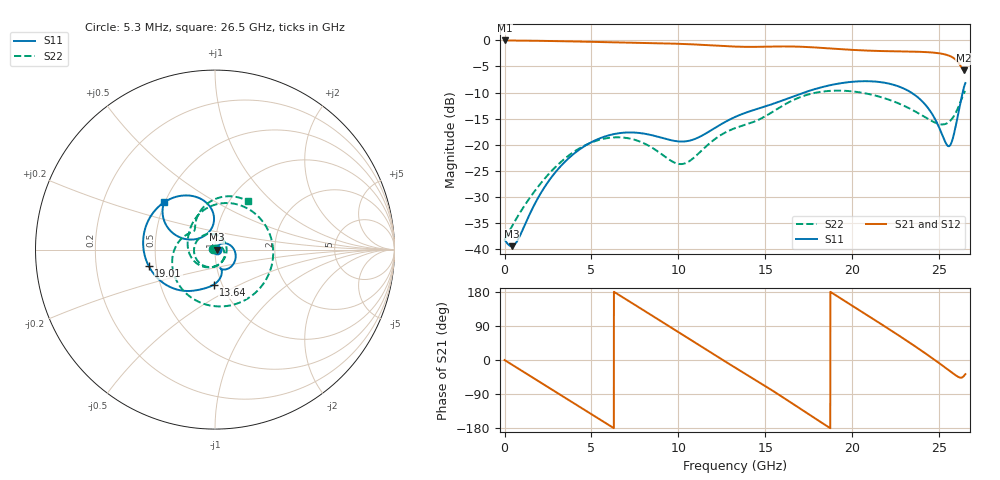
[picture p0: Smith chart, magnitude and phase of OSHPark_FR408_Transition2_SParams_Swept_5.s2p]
! TOUCHSTONE file generated by CST MICROWAVE STUDIO
! Date and time: Tue Jan  7 09:43:09 2020
! Project name: OSHPark_FR408_Transition2.cst
! Parameters = {GND_Plane_XMax=12.5; Cap_Disk_XOffset=0; Cap_Disk2_YCenter=-1.03; Cap_Disk_YCenter=1.03; Cap_Disk_XCenter=7.39; Cap_Disk_Radius=0.5; BottomSupport_Left_YMax=4.76; BottomSupport_Left_YMin=3.74; BottomSupport_Right_YMax=-3.74; BottomSupport_Right_YMin=-4.76; BottomSupport_XMax=11.64; B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
! Header version: 2015
! Port assignment regex: !\s*Touchstone port\s*([0-9]+)\s*=\s*CST MWS port\s*([0-9]+)\s*\(\"(.*)\"\)(\s*mode\s*([0-9]+))?.*
! Touchstone port assignment:
! Touchstone port 1 = CST MWS port 1 ("")
! Touchstone port 2 = CST MWS port 2 ("")
# GHz S MA R 50
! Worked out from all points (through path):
!   5000 points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, 5.3 MHz to 26.5 GHz, reference 50 ohm
!   highest |S21| = 0.00 dB at 5.3 MHz (marker M1); lowest = -5.7 dB at 26.42 GHz (marker M2)
!   group delay of S21, straight-line fit = 80.7 ps
!   lowest |S11| = -39.5 dB at 402.8 MHz (marker M3), VSWR 1.02, Z = 51.1 + j0.0292 ohm
!   |S11| at or under -10 dB: start of sweep to 17.23 GHz; 23.38 GHz to 26.34 GHz (2.959 GHz wide, 11.9 % of centre)
!   |S22| runs from -38.1 to -9.6 dB; largest |S21 - S12| = 0
!   S11 on the Smith chart (normalised r, x): 5.3 MHz: 1.02, -0.01; 13.64 GHz: 0.91, -0.37; 19.01 GHz: 0.45, -0.10; 26.5 GHz: 0.50, +0.32
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0.0053  0.01218 -23.6  0.9999 -0.2  0.9999 -0.2  0.01241 154.1
0.4028  0.01058 1.5  0.9988 -11.5  0.9988 -11.5  0.01615 117.3
2.5228  0.04425 45.1  0.9889 -72.3  0.9889 -72.3  0.05174 -11.0
3.4556  0.06787 31.1  0.9825 -99.0  0.9825 -99.0  0.07309 -52.3
4.4255  0.09251 12.6  0.9748 -126.8  0.9748 -126.8  0.0944 -90.9
5.5226  0.1156 -10.2  0.9656 -158.1  0.9656 -158.1  0.1119 -132.0
6.5561  0.1284 -31.6  0.9574 172.4  0.9574 172.4  0.1175 -170.5
7.6055  0.13 -51.5  0.9497 142.4  0.9497 142.4  0.1096 148.5
8.8404  0.1187 -68.8  0.9405 106.9  0.9405 106.9  0.08531 91.4
10.0276  0.1072 -74.2  0.9284 72.6  0.9284 72.6  0.06517 13.3
11.3208  0.1211 -72.2  0.9084 35.1  0.9084 35.1  0.08721 -79.9
13.2553  0.1841 -87.5  0.8734 -19.8  0.8734 -19.8  0.1438 -170.0
13.6422  0.1959 -92.4  0.8694 -30.6  0.8694 -30.6  0.1512 176.4
15.7304  0.2562 -117.0  0.8758 -90.3  0.8758 -90.3  0.2225 110.2
17.6702  0.3343 -143.6  0.8601 -148.5  0.8601 -148.5  0.3091 29.5
19.0058  0.3801 -165.9  0.8317 172.0  0.8317 172.0  0.3297 -28.7
20.6541  0.4063 164.1  0.8017 124.0  0.8017 124.0  0.3127 -95.0
22.0851  0.3857 136.3  0.7885 82.2  0.7885 82.2  0.2706 -145.5
24.0302  0.259 99.3  0.776 22.9  0.776 22.9  0.1898 158.2
25.5301  0.09644 123.4  0.7171 -26.5  0.7171 -26.5  0.1637 132.9
26.4205  0.3567 145.0  0.5173 -41.8  0.5173 -41.8  0.3134 70.7
26.5  0.3898 135.9  0.5371 -37.3  0.5371 -37.3  0.3264 54.4
